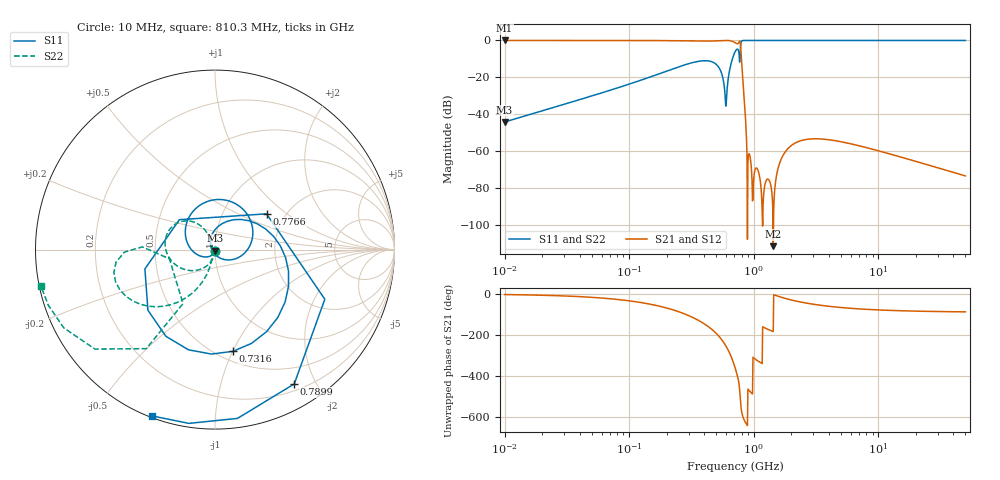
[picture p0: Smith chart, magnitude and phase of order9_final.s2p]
! Created with skrf 1.11.0 (http://scikit-rf.org).
# Hz S RI R 50.0
!freq ReS11 ImS11 ReS21 ImS21 ReS12 ImS12 ReS22 ImS22
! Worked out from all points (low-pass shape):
!   1001 points, 10 MHz to 50 GHz, reference 50 ohm
!   highest |S21| = 0.00 dB at 10 MHz (marker M1); lowest = -111.6 dB at 1.434 GHz (marker M2)
!   |S21| within 3 dB of the highest: start of sweep to 784 MHz
!   lowest |S11| = -44.2 dB at 10 MHz (marker M3), VSWR 1.01, Z = 49.9 - j0.61 ohm
!   |S11| at or under -10 dB: start of sweep to 674.2 MHz; 767.1 MHz to 774.4 MHz (7.291 MHz wide, 0.946 % of centre)
!   |S22| runs from -44.2 to 0.0 dB; largest |S21 - S12| = 8e-11
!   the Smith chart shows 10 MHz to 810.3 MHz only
!   S11 on the Smith chart (normalised r, x): 10 MHz: 1.00, -0.01; 731.6 MHz: 0.59, -1.00; 776.6 MHz: 1.60, +0.73; 789.9 MHz: 0.28, -1.72; 810.3 MHz: 0.01, -0.69
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1e7  -0.000556 -0.00611  0.9982 -0.0589  0.9982 -0.0589  -0.000165 -0.00613
4.146942e7  -0.00943 -0.0239  0.9699 -0.242  0.9699 -0.242  -0.00292 -0.0256
1.719713e8  -0.1224 -0.0101  0.5119 -0.8502  0.5119 -0.8502  -0.0662 -0.1034
3.202438e8  -0.116 0.2201  -0.3863 -0.8882  -0.3863 -0.8882  -0.2401 -0.0653
4.819826e8  0.2069 0.133  -0.9677 0.0551  -0.9677 0.0551  -0.1904 0.1556
5.523507e8  0.1173 -0.05  -0.729 0.6725  -0.729 0.6725  -0.0592 0.1129
5.862835e8  0.0117 -0.0371  -0.4159 0.9086  -0.4159 0.9086  -0.0205 0.0331
6.170232e8  -0.0236 0.0636  -0.0219 0.9975  -0.0219 0.9975  -0.0208 -0.0646
6.605311e8  0.189 0.1609  0.5908 0.7677  0.5908 0.7677  -0.1071 -0.2239
7.071068e8  0.3905 -0.292  0.8727 0.0265  0.8727 0.0265  -0.3721 -0.3152
7.316121e8  0.0995 -0.5669  0.7181 -0.3913  0.7181 -0.3913  -0.5303 -0.2237
7.765576e8  0.2873 0.1992  -0.6382 -0.6859  -0.6382 -0.6859  -0.178 -0.3009
7.898991e8  0.4415 -0.7483  -0.4876 0.0852  -0.4876 0.0852  -0.6691 -0.5543
8.103423e8  -0.3528 -0.9262  -0.0863 0.1014  -0.0863 0.1014  -0.9705 -0.2011
8.674816e8  -0.9628 -0.27  5.21e-05 0.00405  5.21e-05 0.00405  -0.9556 0.2947
9.2865e8  -0.9705 0.2413  -0.000312 -0.000705  -0.000312 -0.000705  -0.8311 0.5561
1.101112e9  -0.529 0.8486  0.000212 0.000122  0.000212 0.000122  -0.4692 0.8831
1.433836e9  0.0943 0.9955  -2.62e-06 1.55e-07  -2.62e-06 1.55e-07  0.0242 0.9997
1.835564e9  0.4525 0.8918  0.000967 -0.000432  0.000967 -0.000432  0.362 0.9322
2.932331e9  0.788 0.6156  0.00139 -0.00163  0.00139 -0.00163  0.7322 0.6811
1.216021e10  0.9878 0.1559  0.000142 -0.000835  0.000142 -0.000835  0.9837 0.1796
5e10  0.9993 0.038  8.65e-06 -0.000211  8.65e-06 -0.000211  0.999 0.0439
